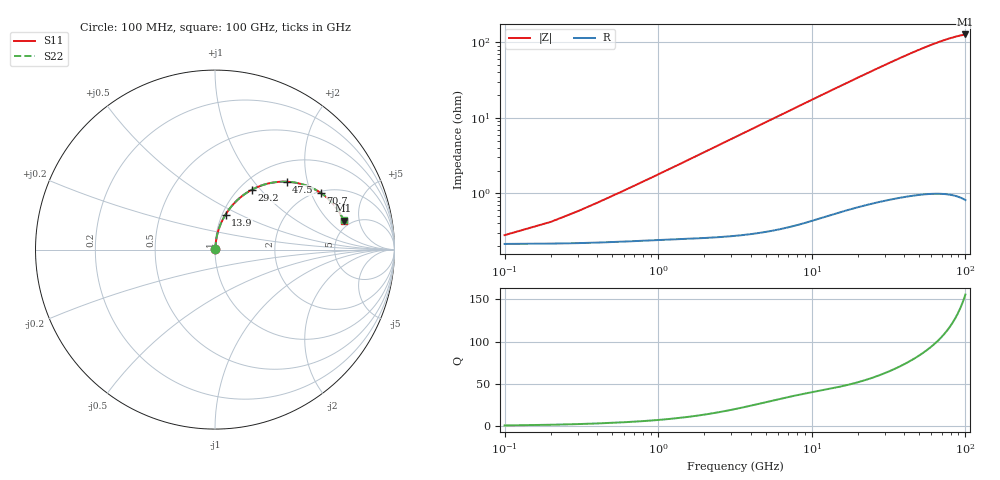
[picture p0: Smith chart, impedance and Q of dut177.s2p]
! Touchstone file exported from HFSS 2026.1.0
!  File:  C:/ffzhzh/LocalFiles/Ansys_Project_Files/temp_train_RDL_177_1783500314_9504.aedt
!  Generated:  04:46:23 PM Jul  8, 2026
!  Design:  RDL
!  Project:  temp_train_RDL_177_1783500314_9504
! Variables:
!  h_bsmrdl = 2um
!  h_ox = 20um
!  h_rdl = 5um
!  h_sub = 80um
!  h_tmrdl = 3.03um
!  h_tsv = 80um
!  h_via = 3um
!  l_bsmrdl = 300um
!  l_sub = 607.69um
!  l_tmrdl = 207.69um
!  m_sub = 200um
!  pitch = 57.9um
!  r_tsv = 6um
!  s_tmrdl = 10um
!  w_bsmrdl = 18um
!  w_sub = 500um
!  w_tmrdl = 12.33um
!  x_tsv_center1 = 213.855um
!  x_tsv_center2 = 531.855um
!  x_tsv_center3 = 751.875um
!  x_tsv_center4 = 1069.875um
!  x_tsv_center5 = 1289.895um
!  x_tsv_center6 = 1607.895um
# GHz S MA R 50.000000
! Terminal data exported
! Port[1] = TM_RDL1_1_T1
! Port[2] = TM_RDL1_1_T2
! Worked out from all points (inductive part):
!   1000 points, 100 MHz to 100 GHz, reference 50 ohm
!   read as one part in series: L = 282 pH near 600 MHz
!   highest Q = 156 at 100 GHz (marker M1), where L = 202 pH
!   S11 on the Smith chart (normalised r, x): 100 MHz: 1.00, +0.00; 13.9 GHz: 1.04, +0.42; 29.2 GHz: 1.14, +0.89; 47.5 GHz: 1.38, +1.50; 70.7 GHz: 2.06, +2.35; 100 GHz: 4.32, +3.03
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0.1  0.002657 36.3  0.9979 -0.1  0.9979 -0.1  0.002657 36.3
! Gamma 0 0 0 0
! Port Impedance 50 0 50 0
0.4  0.006648 70.0  0.9978 -0.5  0.9978 -0.5  0.006648 70.0
0.8  0.01261 78.3  0.9976 -0.9  0.9976 -0.9  0.01261 78.3
1  0.01562 80.0  0.9975 -1.1  0.9975 -1.1  0.01562 80.0
1.3  0.02014 81.5  0.9973 -1.5  0.9973 -1.5  0.02014 81.5
1.7  0.02618 82.6  0.9971 -1.9  0.9971 -1.9  0.02618 82.6
2.2  0.03374 83.1  0.9968 -2.5  0.9968 -2.5  0.03374 83.1
3.5  0.05338 83.1  0.9958 -3.9  0.9958 -3.9  0.05338 83.1
5.3  0.08038 81.8  0.9936 -5.9  0.9936 -5.9  0.08038 81.8
7.6  0.1144 79.7  0.9898 -8.5  0.9898 -8.5  0.1144 79.7
10.4  0.1548 76.9  0.9836 -11.5  0.9836 -11.5  0.1548 76.9
13.9  0.2037 73.3  0.9739 -15.3  0.9739 -15.3  0.2037 73.3
16.8  0.2426 70.4  0.9644 -18.3  0.9644 -18.3  0.2426 70.4
22.5  0.3144 64.8  0.9427 -24.0  0.9427 -24.0  0.3144 64.8
29.2  0.3903 58.5  0.9134 -30.4  0.9134 -30.4  0.3903 58.5
33.4  0.433 54.8  0.8939 -34.2  0.8939 -34.2  0.433 54.8
47.5  0.5497 43.5  0.8274 -45.7  0.8274 -45.7  0.5497 43.5
50.1  0.5671 41.6  0.8157 -47.6  0.8157 -47.6  0.5671 41.6
66.7  0.6532 30.6  0.7493 -58.7  0.7493 -58.7  0.6532 30.6
70.7  0.6685 28.2  0.7359 -61.2  0.7359 -61.2  0.6685 28.2
83.4  0.7059 21.1  0.7007 -68.3  0.7007 -68.3  0.7059 21.2
100  0.7344 12.7  0.6713 -76.8  0.6713 -76.8  0.7343 12.8
